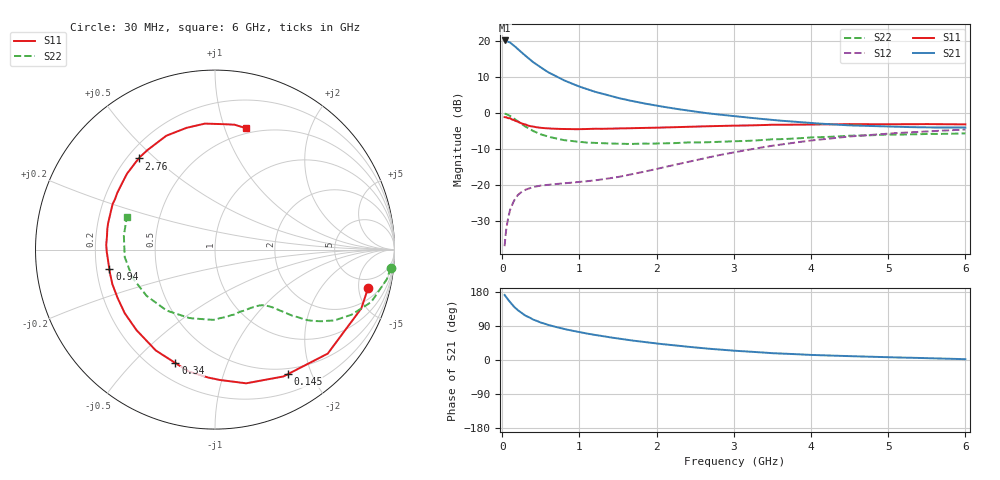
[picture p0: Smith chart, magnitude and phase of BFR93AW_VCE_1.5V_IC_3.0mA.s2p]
! Infineon Technologies  Discrete & RF Semiconductors
! BFR93AW
! VCE =  1.5 V,  IC =  3.0 mA
! Common Emitter S-Parameters:  Nov 2015
# GHz  S  MA  R  50
!  f  S11  S21  S12  S22
! GHz  MAG  ANG  MAG  ANG  MAG  ANG  MAG  ANG
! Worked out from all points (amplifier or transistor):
!   206 points, 30 MHz to 6 GHz, reference 50 ohm
!   highest |S21| = 20.2 dB at 30 MHz (marker M1)
!   |S21| within 3 dB of that: start of sweep to 234 MHz
!   unconditionally stable (mu >= 1): 1.089 GHz to 2.57 GHz
!   at 200 MHz: K = 0.21, MSG = 20.3 dB, |S12| = -22.8 dB
!   at 1.56 GHz: K = 1.15, MAG = 8.3 dB, |S12| = -17.5 dB
!   at 6 GHz: K = 1.00, MSG = 0.3 dB, |S12| = -4.5 dB
!   S11 on the Smith chart (normalised r, x): 30 MHz: 3.32, -6.31; 145 MHz: 0.42, -1.66; 340 MHz: 0.29, -0.67; 940 MHz: 0.25, -0.09; 2.76 GHz: 0.25, +0.44; 6 GHz: 0.45, +1.19
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0.03  0.8792 -14.2  10.22 171.6  0.0142 81.0  0.9848 -5.9
0.05  0.8786 -21.9  10.12 165.8  0.0237 77.0  0.9717 -9.8
0.1  0.8546 -42.7  9.594 152.7  0.045 67.9  0.9178 -18.6
0.145  0.8039 -59.7  8.77 142.3  0.0587 59.4  0.8497 -24.7
0.15  0.8029 -61.7  8.698 141.0  0.0603 58.7  0.8428 -25.5
0.2  0.7649 -76.9  7.825 131.7  0.0726 52.4  0.7716 -30.8
0.24  0.727 -87.8  7.135 125.4  0.0789 47.7  0.7171 -33.8
0.3  0.695 -102.2  6.264 117.1  0.0863 43.3  0.6496 -37.3
0.34  0.6695 -109.2  5.777 113.4  0.0893 41.3  0.6153 -38.5
0.4  0.6516 -120.4  5.103 106.7  0.0941 38.6  0.5645 -40.6
0.5  0.6265 -134.3  4.29 98.6  0.0987 35.6  0.5071 -42.7
0.6  0.6153 -144.8  3.672 92.3  0.1012 35.0  0.4698 -44.2
0.8  0.6034 -161.3  2.858 81.9  0.106 36.0  0.4218 -47.7
0.94  0.5986 -169.6  2.476 76.1  0.1093 37.9  0.4054 -49.9
1.04  0.5997 -175.0  2.26 72.1  0.1119 39.6  0.3954 -52.2
1.5  0.6134 166.3  1.626 56.8  0.1296 49.6  0.3776 -64.0
2.02  0.6299 149.4  1.258 43.0  0.1698 57.8  0.3797 -79.9
2.76  0.6618 129.9  0.969 28.4  0.2545 60.0  0.3977 -103.6
3.1  0.6721 122.0  0.885 23.4  0.298 57.8  0.4092 -114.4
4.1  0.6969 101.5  0.717 12.8  0.4276 46.6  0.4625 -149.1
5.1  0.7004 86.2  0.646 6.8  0.5281 32.7  0.5043 -178.0
6  0.6979 75.5  0.631 2.1  0.5923 21.2  0.5239 159.7
